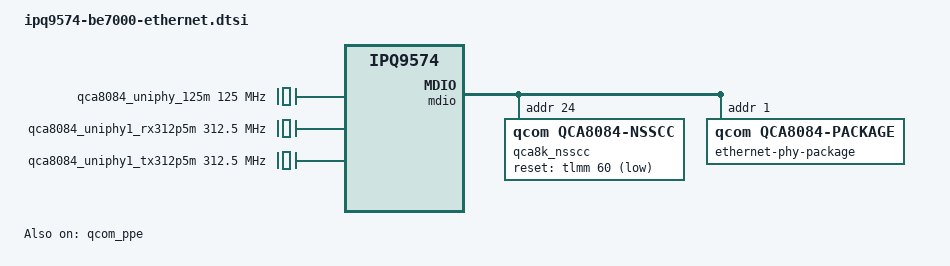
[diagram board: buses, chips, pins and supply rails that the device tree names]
// SPDX-License-Identifier: (GPL-2.0+ OR BSD-3-Clause)
/* Native PPE/QCA8084 Ethernet wiring for Xiaomi BE7000.
 * QCA8084 package bindings:
 * Copyright (c) 2024 Qualcomm Innovation Center, Inc. All rights reserved.
 */
#include <dt-bindings/clock/qcom,qca8k-nsscc.h>
#include <dt-bindings/net/qcom,qca808x.h>
#include <dt-bindings/reset/qcom,qca8k-nsscc.h>

/ {
	aliases {
		ethernet0 = &be7000_port1;
		ethernet1 = &be7000_port2;
		ethernet2 = &be7000_port3;
		ethernet3 = &be7000_port4;
	};
	clocks {
		qca8084_uniphy_125m: qca8084-uniphy-125m {
			compatible = "fixed-clock";
			#clock-cells = <0>;
			clock-frequency = <125000000>;
		};
		/* Equal rates, but distinct hardware inputs to the NSSCC muxes. */
		qca8084_uniphy1_rx312p5m: qca8084-uniphy1-rx312p5m {
			compatible = "fixed-clock";
			#clock-cells = <0>;
			clock-frequency = <312500000>;
		};
		qca8084_uniphy1_tx312p5m: qca8084-uniphy1-tx312p5m {
			compatible = "fixed-clock";
			#clock-cells = <0>;
			clock-frequency = <312500000>;
		};
	};
};

/* All four external ports use PCS0; PCS1 and PCS2 are not connected. */
&pcs1 {
	status = "disabled";
};

&pcs2 {
	status = "disabled";
};

&mdio {
	pinctrl-0 = <&be7000_mdio_pins>;
	pinctrl-names = "default";
	status = "okay";

	qca8k_nsscc: clock-controller@18 {
		compatible = "qcom,qca8084-nsscc";
		reg = <0x18>;
		reset-gpios = <&tlmm 60 GPIO_ACTIVE_LOW>;
		clocks = <&cmn_pll ETH0_50MHZ_CLK>,
			 <&qca8084_uniphy_125m>, <&qca8084_uniphy_125m>,
			 <&qca8084_uniphy_125m>, <&qca8084_uniphy_125m>,
			 <&qca8084_uniphy1_rx312p5m>, <&qca8084_uniphy1_tx312p5m>;
		#clock-cells = <1>;
		#reset-cells = <1>;
		#power-domain-cells = <1>;
	};
	ethernet-phy-package@1 {
		#address-cells = <1>;
		#size-cells = <0>;
		compatible = "qcom,qca8084-package";
		reg = <1>;
		clocks = <&qca8k_nsscc NSS_CC_APB_BRIDGE_CLK>,
				 <&qca8k_nsscc NSS_CC_AHB_CLK>,
				 <&qca8k_nsscc NSS_CC_SEC_CTRL_AHB_CLK>,
				 <&qca8k_nsscc NSS_CC_TLMM_CLK>,
				 <&qca8k_nsscc NSS_CC_TLMM_AHB_CLK>,
				 <&qca8k_nsscc NSS_CC_CNOC_AHB_CLK>,
				 <&qca8k_nsscc NSS_CC_MDIO_AHB_CLK>;
		clock-names = "apb_bridge",
					  "ahb",
					  "sec_ctrl_ahb",
					  "tlmm",
					  "tlmm_ahb",
					  "cnoc_ahb",
					  "mdio_ahb";
		resets = <&qca8k_nsscc NSS_CC_GEPHY_FULL_ARES>;
		qcom,package-mode = <QCA808X_PCS1_10G_QXGMII_PCS0_UNUNSED>;
		qcom,phy-addr-fixup = <1 2 3 4 5 6 7>;

		be7000_phy1: ethernet-phy@1 {
			compatible = "ethernet-phy-id004d.d180";
			reg = <1>;
			clocks = <&qca8k_nsscc NSS_CC_GEPHY0_SYS_CLK>;
			resets = <&qca8k_nsscc NSS_CC_GEPHY0_SYS_ARES>;
			qcom,xpcs-channel = <0>;
		};

		be7000_phy2: ethernet-phy@2 {
			compatible = "ethernet-phy-id004d.d180";
			reg = <2>;
			clocks = <&qca8k_nsscc NSS_CC_GEPHY1_SYS_CLK>;
			resets = <&qca8k_nsscc NSS_CC_GEPHY1_SYS_ARES>;
			qcom,xpcs-channel = <1>;
		};

		be7000_phy3: ethernet-phy@3 {
			compatible = "ethernet-phy-id004d.d180";
			reg = <3>;
			clocks = <&qca8k_nsscc NSS_CC_GEPHY2_SYS_CLK>;
			resets = <&qca8k_nsscc NSS_CC_GEPHY2_SYS_ARES>;
			qcom,xpcs-channel = <2>;
		};

		be7000_phy4: ethernet-phy@4 {
			compatible = "ethernet-phy-id004d.d180";
			reg = <4>;
			clocks = <&qca8k_nsscc NSS_CC_GEPHY3_SYS_CLK>;
			resets = <&qca8k_nsscc NSS_CC_GEPHY3_SYS_ARES>;
			qcom,xpcs-channel = <3>;
		};

		pcs-phy@6 {
			compatible = "qcom,qca8k-pcs-phy";
			reg = <6>;
			clocks = <&qca8k_nsscc NSS_CC_SRDS1_SYS_CLK>,
					 <&qca8084_uniphy1_tx312p5m>,
					 <&qca8084_uniphy1_rx312p5m>;
			clock-names = "pcs", "pcs_rx_root", "pcs_tx_root";
			resets = <&qca8k_nsscc NSS_CC_SRDS1_SYS_ARES>;
		};

		xpcs-phy@7 {
			compatible = "qcom,qca8k-xpcs-phy";
			reg = <7>;
			#address-cells = <1>;
			#size-cells = <0>;
			resets = <&qca8k_nsscc NSS_CC_XPCS_ARES>;

			channel@0 {
				reg = <0>;
				clocks = <&qca8k_nsscc NSS_CC_MAC1_SRDS1_CH0_XGMII_TX_CLK>,
						 <&qca8k_nsscc NSS_CC_MAC1_SRDS1_CH0_XGMII_RX_CLK>,
						 <&qca8k_nsscc NSS_CC_MAC1_SRDS1_CH0_TX_CLK>,
						 <&qca8k_nsscc NSS_CC_MAC1_SRDS1_CH0_RX_CLK>,
						 <&qca8k_nsscc NSS_CC_MAC1_GEPHY0_RX_CLK>,
						 <&qca8k_nsscc NSS_CC_MAC1_GEPHY0_TX_CLK>,
						 <&qca8k_nsscc NSS_CC_MAC1_RX_CLK_SRC>,
						 <&qca8k_nsscc NSS_CC_MAC1_TX_CLK_SRC>;
				clock-names = "xgmii_rx",
							  "xgmii_tx",
							  "xpcs_rx",
							  "xpcs_tx",
							  "port_rx",
							  "port_tx",
							  "rx_src",
							  "tx_src";
				resets = <&qca8k_nsscc NSS_CC_MAC1_SRDS1_CH0_XGMII_TX_ARES>,
						 <&qca8k_nsscc NSS_CC_MAC1_SRDS1_CH0_XGMII_RX_ARES>,
						 <&qca8k_nsscc NSS_CC_MAC1_SRDS1_CH0_TX_ARES>,
						 <&qca8k_nsscc NSS_CC_MAC1_SRDS1_CH0_RX_ARES>,
						 <&qca8k_nsscc NSS_CC_MAC1_GEPHY0_RX_ARES>,
						 <&qca8k_nsscc NSS_CC_MAC1_GEPHY0_TX_ARES>;
				reset-names = "xgmii_rx",
							  "xgmii_tx",
							  "xpcs_rx",
							  "xpcs_tx",
							  "port_rx",
							  "port_tx";
			};

			channel@1 {
				reg = <1>;
				clocks = <&qca8k_nsscc NSS_CC_MAC2_SRDS1_CH1_XGMII_TX_CLK>,
						 <&qca8k_nsscc NSS_CC_MAC2_SRDS1_CH1_XGMII_RX_CLK>,
						 <&qca8k_nsscc NSS_CC_MAC2_SRDS1_CH1_TX_CLK>,
						 <&qca8k_nsscc NSS_CC_MAC2_SRDS1_CH1_RX_CLK>,
						 <&qca8k_nsscc NSS_CC_MAC2_GEPHY1_RX_CLK>,
						 <&qca8k_nsscc NSS_CC_MAC2_GEPHY1_TX_CLK>,
						 <&qca8k_nsscc NSS_CC_MAC2_RX_CLK_SRC>,
						 <&qca8k_nsscc NSS_CC_MAC2_TX_CLK_SRC>;
				clock-names = "xgmii_rx",
							  "xgmii_tx",
							  "xpcs_rx",
							  "xpcs_tx",
							  "port_rx",
							  "port_tx",
							  "rx_src",
							  "tx_src";
				resets = <&qca8k_nsscc NSS_CC_MAC2_SRDS1_CH1_XGMII_TX_ARES>,
						 <&qca8k_nsscc NSS_CC_MAC2_SRDS1_CH1_XGMII_RX_ARES>,
						 <&qca8k_nsscc NSS_CC_MAC2_SRDS1_CH1_TX_ARES>,
						 <&qca8k_nsscc NSS_CC_MAC2_SRDS1_CH1_RX_ARES>,
						 <&qca8k_nsscc NSS_CC_MAC2_GEPHY1_RX_ARES>,
						 <&qca8k_nsscc NSS_CC_MAC2_GEPHY1_TX_ARES>;
				reset-names = "xgmii_rx",
							  "xgmii_tx",
							  "xpcs_rx",
							  "xpcs_tx",
							  "port_rx",
							  "port_tx";
			};

			channel@2 {
				reg = <2>;
				clocks = <&qca8k_nsscc NSS_CC_MAC3_SRDS1_CH2_XGMII_TX_CLK>,
						 <&qca8k_nsscc NSS_CC_MAC3_SRDS1_CH2_XGMII_RX_CLK>,
						 <&qca8k_nsscc NSS_CC_MAC3_SRDS1_CH2_TX_CLK>,
						 <&qca8k_nsscc NSS_CC_MAC3_SRDS1_CH2_RX_CLK>,
						 <&qca8k_nsscc NSS_CC_MAC3_GEPHY2_RX_CLK>,
						 <&qca8k_nsscc NSS_CC_MAC3_GEPHY2_TX_CLK>,
						 <&qca8k_nsscc NSS_CC_MAC3_RX_CLK_SRC>,
						 <&qca8k_nsscc NSS_CC_MAC3_TX_CLK_SRC>;
				clock-names = "xgmii_rx",
							  "xgmii_tx",
							  "xpcs_rx",
							  "xpcs_tx",
							  "port_rx",
							  "port_tx",
							  "rx_src",
							  "tx_src";
				resets = <&qca8k_nsscc NSS_CC_MAC3_SRDS1_CH2_XGMII_TX_ARES>,
						 <&qca8k_nsscc NSS_CC_MAC3_SRDS1_CH2_XGMII_RX_ARES>,
						 <&qca8k_nsscc NSS_CC_MAC3_SRDS1_CH2_TX_ARES>,
						 <&qca8k_nsscc NSS_CC_MAC3_SRDS1_CH2_RX_ARES>,
						 <&qca8k_nsscc NSS_CC_MAC3_GEPHY2_RX_ARES>,
						 <&qca8k_nsscc NSS_CC_MAC3_GEPHY2_TX_ARES>;
				reset-names = "xgmii_rx",
							  "xgmii_tx",
							  "xpcs_rx",
							  "xpcs_tx",
							  "port_rx",
							  "port_tx";
			};

			channel@3 {
				reg = <3>;
				clocks = <&qca8k_nsscc NSS_CC_MAC4_SRDS1_CH3_XGMII_TX_CLK>,
						 <&qca8k_nsscc NSS_CC_MAC4_SRDS1_CH3_XGMII_RX_CLK>,
						 <&qca8k_nsscc NSS_CC_MAC4_SRDS1_CH3_TX_CLK>,
						 <&qca8k_nsscc NSS_CC_MAC4_SRDS1_CH3_RX_CLK>,
						 <&qca8k_nsscc NSS_CC_MAC4_GEPHY3_RX_CLK>,
						 <&qca8k_nsscc NSS_CC_MAC4_GEPHY3_TX_CLK>,
						 <&qca8k_nsscc NSS_CC_MAC4_RX_CLK_SRC>,
						 <&qca8k_nsscc NSS_CC_MAC4_TX_CLK_SRC>;
				clock-names = "xgmii_rx",
							  "xgmii_tx",
							  "xpcs_rx",
							  "xpcs_tx",
							  "port_rx",
							  "port_tx",
							  "rx_src",
							  "tx_src";
				resets = <&qca8k_nsscc NSS_CC_MAC4_SRDS1_CH3_XGMII_TX_ARES>,
						 <&qca8k_nsscc NSS_CC_MAC4_SRDS1_CH3_XGMII_RX_ARES>,
						 <&qca8k_nsscc NSS_CC_MAC4_SRDS1_CH3_TX_ARES>,
						 <&qca8k_nsscc NSS_CC_MAC4_SRDS1_CH3_RX_ARES>,
						 <&qca8k_nsscc NSS_CC_MAC4_GEPHY3_RX_ARES>,
						 <&qca8k_nsscc NSS_CC_MAC4_GEPHY3_TX_ARES>;
				reset-names = "xgmii_rx",
							  "xgmii_tx",
							  "xpcs_rx",
							  "xpcs_tx",
							  "port_rx",
							  "port_tx";
			};
		};
	};
};

&qcom_ppe {
	status = "okay";
	ethernet-ports {
		#address-cells = <1>;
		#size-cells = <0>;

		be7000_port1: port@1 {
			reg = <1>;
			phy-mode = "10g-qxgmii";
			managed = "in-band-status";
			label = "eth0";
			phy-handle = <&be7000_phy1>;
			pcs-handle = <&pcs0_ch0>;
			clocks = <&nsscc NSS_CC_PORT1_MAC_CLK>,
				 <&nsscc NSS_CC_PORT1_RX_CLK>,
				 <&nsscc NSS_CC_PORT1_TX_CLK>;
			clock-names = "port_mac", "port_rx", "port_tx";
			resets = <&nsscc PORT1_MAC_ARES>,
				 <&nsscc PORT1_RX_ARES>,
				 <&nsscc PORT1_TX_ARES>;
			reset-names = "port_mac", "port_rx", "port_tx";
		};

		be7000_port2: port@2 {
			reg = <2>;
			phy-mode = "10g-qxgmii";
			managed = "in-band-status";
			label = "eth1";
			phy-handle = <&be7000_phy2>;
			pcs-handle = <&pcs0_ch1>;
			clocks = <&nsscc NSS_CC_PORT2_MAC_CLK>,
				 <&nsscc NSS_CC_PORT2_RX_CLK>,
				 <&nsscc NSS_CC_PORT2_TX_CLK>;
			clock-names = "port_mac", "port_rx", "port_tx";
			resets = <&nsscc PORT2_MAC_ARES>,
				 <&nsscc PORT2_RX_ARES>,
				 <&nsscc PORT2_TX_ARES>;
			reset-names = "port_mac", "port_rx", "port_tx";
		};

		be7000_port3: port@3 {
			reg = <3>;
			phy-mode = "10g-qxgmii";
			managed = "in-band-status";
			label = "eth2";
			phy-handle = <&be7000_phy3>;
			pcs-handle = <&pcs0_ch2>;
			clocks = <&nsscc NSS_CC_PORT3_MAC_CLK>,
				 <&nsscc NSS_CC_PORT3_RX_CLK>,
				 <&nsscc NSS_CC_PORT3_TX_CLK>;
			clock-names = "port_mac", "port_rx", "port_tx";
			resets = <&nsscc PORT3_MAC_ARES>,
				 <&nsscc PORT3_RX_ARES>,
				 <&nsscc PORT3_TX_ARES>;
			reset-names = "port_mac", "port_rx", "port_tx";
		};

		be7000_port4: port@4 {
			reg = <4>;
			phy-mode = "10g-qxgmii";
			managed = "in-band-status";
			label = "eth3";
			phy-handle = <&be7000_phy4>;
			pcs-handle = <&pcs0_ch3>;
			clocks = <&nsscc NSS_CC_PORT4_MAC_CLK>,
				 <&nsscc NSS_CC_PORT4_RX_CLK>,
				 <&nsscc NSS_CC_PORT4_TX_CLK>;
			clock-names = "port_mac", "port_rx", "port_tx";
			resets = <&nsscc PORT4_MAC_ARES>,
				 <&nsscc PORT4_RX_ARES>,
				 <&nsscc PORT4_TX_ARES>;
			reset-names = "port_mac", "port_rx", "port_tx";
		};
	};
};
